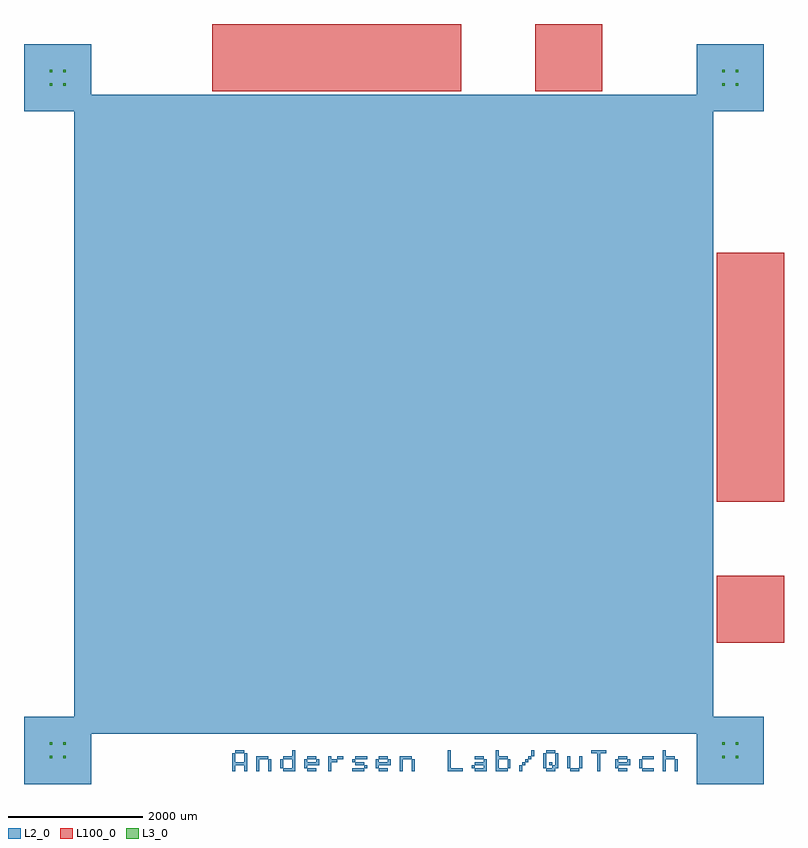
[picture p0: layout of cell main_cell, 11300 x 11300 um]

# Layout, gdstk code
import gdstk
lib = gdstk.Library(unit=1e-6, precision=1e-09)
def R(c, l, rs):  # rectangles x0, y0, x1, y1
    for r in rs: c.add(gdstk.rectangle(r[:2], r[2:], *l))
def P(c, l, *ps):  # polygons
    for p in ps: c.add(gdstk.Polygon(p, *l))
L2_0 = (2, 0)
L3_0 = (3, 0)
L100_0 = (100, 0)

main_cell = lib.new_cell('main_cell')
R(main_cell, L2_0, [(-5500,-5500,-4500,-4500), (4500,-5500,5500,-4500), (-444.444,-5266.667,-400,-5222.222), (1155.556,-5266.667,1200,-5222.222), (1911.111,-5222.222,1955.556,-5177.778), (2311.111,-5222.222,2355.556,-5177.778), (-622.222,-5177.778,-577.778,-5133.333), (1955.556,-5177.778,2000,-5133.333), (2000,-5133.333,2044.444,-5088.889), (-4750,-4750,4750,4750), (-5500,4500,-4500,5500), (4500,4500,5500,5500)])
P(main_cell, L2_0, [(-2400,-5311.111),(-2400,-5266.667),(-2400,-5222.222),(-2400,-5177.778),(-2400,-5133.333),(-2400,-5088.889),(-2400,-5044.444),(-2355.556,-5044.444),(-2355.556,-5088.889),(-2355.556,-5133.333),(-2355.556,-5177.778),(-2311.111,-5177.778),(-2266.667,-5177.778),(-2222.222,-5177.778),(-2222.222,-5133.333),(-2222.222,-5088.889),(-2222.222,-5044.444),(-2177.778,-5044.444),(-2177.778,-5088.889),(-2177.778,-5133.333),(-2177.778,-5177.778),(-2177.778,-5222.222),(-2177.778,-5266.667),(-2177.778,-5311.111),(-2222.222,-5311.111),(-2222.222,-5266.667),(-2222.222,-5222.222),(-2266.667,-5222.222),(-2311.111,-5222.222),(-2355.556,-5222.222),(-2355.556,-5266.667),(-2355.556,-5311.111)],
  [(-2355.556,-5044.444),(-2355.556,-5000),(-2311.111,-5000),(-2266.667,-5000),(-2222.222,-5000),(-2222.222,-5044.444),(-2266.667,-5044.444),(-2311.111,-5044.444)],
  [(-2044.444,-5311.111),(-2044.444,-5266.667),(-2044.444,-5222.222),(-2044.444,-5177.778),(-2044.444,-5133.333),(-2044.444,-5088.889),(-2000,-5088.889),(-1955.556,-5088.889),(-1911.111,-5088.889),(-1866.667,-5088.889),(-1866.667,-5133.333),(-1911.111,-5133.333),(-1955.556,-5133.333),(-2000,-5133.333),(-2000,-5177.778),(-2000,-5222.222),(-2000,-5266.667),(-2000,-5311.111)],
  [(-1866.667,-5311.111),(-1866.667,-5266.667),(-1866.667,-5222.222),(-1866.667,-5177.778),(-1866.667,-5133.333),(-1822.222,-5133.333),(-1822.222,-5177.778),(-1822.222,-5222.222),(-1822.222,-5266.667),(-1822.222,-5311.111)],
  [(-1688.889,-5266.667),(-1688.889,-5222.222),(-1688.889,-5177.778),(-1688.889,-5133.333),(-1644.444,-5133.333),(-1644.444,-5177.778),(-1644.444,-5222.222),(-1644.444,-5266.667)],
  [(-1644.444,-5311.111),(-1644.444,-5266.667),(-1600,-5266.667),(-1555.556,-5266.667),(-1511.111,-5266.667),(-1511.111,-5222.222),(-1511.111,-5177.778),(-1511.111,-5133.333),(-1555.556,-5133.333),(-1600,-5133.333),(-1644.444,-5133.333),(-1644.444,-5088.889),(-1600,-5088.889),(-1555.556,-5088.889),(-1511.111,-5088.889),(-1511.111,-5044.444),(-1511.111,-5000),(-1466.667,-5000),(-1466.667,-5044.444),(-1466.667,-5088.889),(-1466.667,-5133.333),(-1466.667,-5177.778),(-1466.667,-5222.222),(-1466.667,-5266.667),(-1466.667,-5311.111),(-1511.111,-5311.111),(-1555.556,-5311.111),(-1600,-5311.111)],
  [(-1333.333,-5266.667),(-1333.333,-5222.222),(-1333.333,-5177.778),(-1333.333,-5133.333),(-1288.889,-5133.333),(-1288.889,-5177.778),(-1244.444,-5177.778),(-1200,-5177.778),(-1155.556,-5177.778),(-1155.556,-5133.333),(-1111.111,-5133.333),(-1111.111,-5177.778),(-1111.111,-5222.222),(-1155.556,-5222.222),(-1200,-5222.222),(-1244.444,-5222.222),(-1288.889,-5222.222),(-1288.889,-5266.667)],
  [(-1288.889,-5311.111),(-1288.889,-5266.667),(-1244.444,-5266.667),(-1200,-5266.667),(-1155.556,-5266.667),(-1155.556,-5311.111),(-1200,-5311.111),(-1244.444,-5311.111)],
  [(-1288.889,-5133.333),(-1288.889,-5088.889),(-1244.444,-5088.889),(-1200,-5088.889),(-1155.556,-5088.889),(-1155.556,-5133.333),(-1200,-5133.333),(-1244.444,-5133.333)],
  [(-977.778,-5311.111),(-977.778,-5266.667),(-977.778,-5222.222),(-977.778,-5177.778),(-977.778,-5133.333),(-977.778,-5088.889),(-933.333,-5088.889),(-933.333,-5133.333),(-888.889,-5133.333),(-844.444,-5133.333),(-844.444,-5177.778),(-888.889,-5177.778),(-933.333,-5177.778),(-933.333,-5222.222),(-933.333,-5266.667),(-933.333,-5311.111)],
  [(-844.444,-5133.333),(-844.444,-5088.889),(-800,-5088.889),(-755.556,-5088.889),(-755.556,-5133.333),(-800,-5133.333)],
  [(-622.222,-5311.111),(-622.222,-5266.667),(-577.778,-5266.667),(-533.333,-5266.667),(-488.889,-5266.667),(-444.444,-5266.667),(-444.444,-5311.111),(-488.889,-5311.111),(-533.333,-5311.111),(-577.778,-5311.111)],
  [(-577.778,-5222.222),(-577.778,-5177.778),(-533.333,-5177.778),(-488.889,-5177.778),(-444.444,-5177.778),(-444.444,-5222.222),(-488.889,-5222.222),(-533.333,-5222.222)],
  [(-577.778,-5133.333),(-577.778,-5088.889),(-533.333,-5088.889),(-488.889,-5088.889),(-444.444,-5088.889),(-400,-5088.889),(-400,-5133.333),(-444.444,-5133.333),(-488.889,-5133.333),(-533.333,-5133.333)],
  [(-266.667,-5266.667),(-266.667,-5222.222),(-266.667,-5177.778),(-266.667,-5133.333),(-222.222,-5133.333),(-222.222,-5177.778),(-177.778,-5177.778),(-133.333,-5177.778),(-88.889,-5177.778),(-88.889,-5133.333),(-44.444,-5133.333),(-44.444,-5177.778),(-44.444,-5222.222),(-88.889,-5222.222),(-133.333,-5222.222),(-177.778,-5222.222),(-222.222,-5222.222),(-222.222,-5266.667)],
  [(-222.222,-5311.111),(-222.222,-5266.667),(-177.778,-5266.667),(-133.333,-5266.667),(-88.889,-5266.667),(-88.889,-5311.111),(-133.333,-5311.111),(-177.778,-5311.111)],
  [(-222.222,-5133.333),(-222.222,-5088.889),(-177.778,-5088.889),(-133.333,-5088.889),(-88.889,-5088.889),(-88.889,-5133.333),(-133.333,-5133.333),(-177.778,-5133.333)],
  [(88.889,-5311.111),(88.889,-5266.667),(88.889,-5222.222),(88.889,-5177.778),(88.889,-5133.333),(88.889,-5088.889),(133.333,-5088.889),(177.778,-5088.889),(222.222,-5088.889),(266.667,-5088.889),(266.667,-5133.333),(222.222,-5133.333),(177.778,-5133.333),(133.333,-5133.333),(133.333,-5177.778),(133.333,-5222.222),(133.333,-5266.667),(133.333,-5311.111)],
  [(266.667,-5311.111),(266.667,-5266.667),(266.667,-5222.222),(266.667,-5177.778),(266.667,-5133.333),(311.111,-5133.333),(311.111,-5177.778),(311.111,-5222.222),(311.111,-5266.667),(311.111,-5311.111)],
  [(800,-5311.111),(800,-5266.667),(800,-5222.222),(800,-5177.778),(800,-5133.333),(800,-5088.889),(800,-5044.444),(800,-5000),(844.444,-5000),(844.444,-5044.444),(844.444,-5088.889),(844.444,-5133.333),(844.444,-5177.778),(844.444,-5222.222),(844.444,-5266.667),(888.889,-5266.667),(933.333,-5266.667),(977.778,-5266.667),(1022.222,-5266.667),(1022.222,-5311.111),(977.778,-5311.111),(933.333,-5311.111),(888.889,-5311.111),(844.444,-5311.111)],
  [(1200,-5311.111),(1200,-5266.667),(1244.444,-5266.667),(1288.889,-5266.667),(1333.333,-5266.667),(1333.333,-5222.222),(1288.889,-5222.222),(1244.444,-5222.222),(1200,-5222.222),(1200,-5177.778),(1244.444,-5177.778),(1288.889,-5177.778),(1333.333,-5177.778),(1333.333,-5133.333),(1377.778,-5133.333),(1377.778,-5177.778),(1377.778,-5222.222),(1377.778,-5266.667),(1377.778,-5311.111),(1333.333,-5311.111),(1288.889,-5311.111),(1244.444,-5311.111)],
  [(1200,-5133.333),(1200,-5088.889),(1244.444,-5088.889),(1288.889,-5088.889),(1333.333,-5088.889),(1333.333,-5133.333),(1288.889,-5133.333),(1244.444,-5133.333)],
  [(1511.111,-5311.111),(1511.111,-5266.667),(1511.111,-5222.222),(1511.111,-5177.778),(1511.111,-5133.333),(1511.111,-5088.889),(1511.111,-5044.444),(1511.111,-5000),(1555.556,-5000),(1555.556,-5044.444),(1555.556,-5088.889),(1600,-5088.889),(1644.444,-5088.889),(1688.889,-5088.889),(1688.889,-5133.333),(1644.444,-5133.333),(1600,-5133.333),(1555.556,-5133.333),(1555.556,-5177.778),(1555.556,-5222.222),(1555.556,-5266.667),(1600,-5266.667),(1644.444,-5266.667),(1688.889,-5266.667),(1688.889,-5311.111),(1644.444,-5311.111),(1600,-5311.111),(1555.556,-5311.111)],
  [(1688.889,-5266.667),(1688.889,-5222.222),(1688.889,-5177.778),(1688.889,-5133.333),(1733.333,-5133.333),(1733.333,-5177.778),(1733.333,-5222.222),(1733.333,-5266.667)],
  [(1866.667,-5311.111),(1866.667,-5266.667),(1866.667,-5222.222),(1911.111,-5222.222),(1911.111,-5266.667),(1911.111,-5311.111)],
  [(2044.444,-5088.889),(2044.444,-5044.444),(2044.444,-5000),(2088.889,-5000),(2088.889,-5044.444),(2088.889,-5088.889)],
  [(2222.222,-5266.667),(2222.222,-5222.222),(2222.222,-5177.778),(2222.222,-5133.333),(2222.222,-5088.889),(2222.222,-5044.444),(2266.667,-5044.444),(2266.667,-5088.889),(2266.667,-5133.333),(2266.667,-5177.778),(2266.667,-5222.222),(2266.667,-5266.667)],
  [(2266.667,-5311.111),(2266.667,-5266.667),(2311.111,-5266.667),(2355.556,-5266.667),(2355.556,-5222.222),(2400,-5222.222),(2400,-5177.778),(2400,-5133.333),(2400,-5088.889),(2400,-5044.444),(2444.444,-5044.444),(2444.444,-5088.889),(2444.444,-5133.333),(2444.444,-5177.778),(2444.444,-5222.222),(2444.444,-5266.667),(2400,-5266.667),(2400,-5311.111),(2355.556,-5311.111),(2311.111,-5311.111)],
  [(2266.667,-5044.444),(2266.667,-5000),(2311.111,-5000),(2355.556,-5000),(2400,-5000),(2400,-5044.444),(2355.556,-5044.444),(2311.111,-5044.444)],
  [(2577.778,-5266.667),(2577.778,-5222.222),(2577.778,-5177.778),(2577.778,-5133.333),(2577.778,-5088.889),(2622.222,-5088.889),(2622.222,-5133.333),(2622.222,-5177.778),(2622.222,-5222.222),(2622.222,-5266.667)],
  [(2622.222,-5311.111),(2622.222,-5266.667),(2666.667,-5266.667),(2711.111,-5266.667),(2755.556,-5266.667),(2755.556,-5311.111),(2711.111,-5311.111),(2666.667,-5311.111)],
  [(2755.556,-5266.667),(2755.556,-5222.222),(2755.556,-5177.778),(2755.556,-5133.333),(2755.556,-5088.889),(2800,-5088.889),(2800,-5133.333),(2800,-5177.778),(2800,-5222.222),(2800,-5266.667)],
  [(3022.222,-5311.111),(3022.222,-5266.667),(3022.222,-5222.222),(3022.222,-5177.778),(3022.222,-5133.333),(3022.222,-5088.889),(3022.222,-5044.444),(2977.778,-5044.444),(2933.333,-5044.444),(2933.333,-5000),(2977.778,-5000),(3022.222,-5000),(3066.667,-5000),(3111.111,-5000),(3155.556,-5000),(3155.556,-5044.444),(3111.111,-5044.444),(3066.667,-5044.444),(3066.667,-5088.889),(3066.667,-5133.333),(3066.667,-5177.778),(3066.667,-5222.222),(3066.667,-5266.667),(3066.667,-5311.111)],
  [(3288.889,-5266.667),(3288.889,-5222.222),(3288.889,-5177.778),(3288.889,-5133.333),(3333.333,-5133.333),(3333.333,-5177.778),(3377.778,-5177.778),(3422.222,-5177.778),(3466.667,-5177.778),(3466.667,-5133.333),(3511.111,-5133.333),(3511.111,-5177.778),(3511.111,-5222.222),(3466.667,-5222.222),(3422.222,-5222.222),(3377.778,-5222.222),(3333.333,-5222.222),(3333.333,-5266.667)],
  [(3333.333,-5311.111),(3333.333,-5266.667),(3377.778,-5266.667),(3422.222,-5266.667),(3466.667,-5266.667),(3466.667,-5311.111),(3422.222,-5311.111),(3377.778,-5311.111)],
  [(3333.333,-5133.333),(3333.333,-5088.889),(3377.778,-5088.889),(3422.222,-5088.889),(3466.667,-5088.889),(3466.667,-5133.333),(3422.222,-5133.333),(3377.778,-5133.333)],
  [(3644.444,-5266.667),(3644.444,-5222.222),(3644.444,-5177.778),(3644.444,-5133.333),(3688.889,-5133.333),(3688.889,-5177.778),(3688.889,-5222.222),(3688.889,-5266.667)],
  [(3688.889,-5311.111),(3688.889,-5266.667),(3733.333,-5266.667),(3777.778,-5266.667),(3822.222,-5266.667),(3866.667,-5266.667),(3866.667,-5311.111),(3822.222,-5311.111),(3777.778,-5311.111),(3733.333,-5311.111)],
  [(3688.889,-5133.333),(3688.889,-5088.889),(3733.333,-5088.889),(3777.778,-5088.889),(3822.222,-5088.889),(3866.667,-5088.889),(3866.667,-5133.333),(3822.222,-5133.333),(3777.778,-5133.333),(3733.333,-5133.333)],
  [(4000,-5311.111),(4000,-5266.667),(4000,-5222.222),(4000,-5177.778),(4000,-5133.333),(4000,-5088.889),(4000,-5044.444),(4000,-5000),(4044.444,-5000),(4044.444,-5044.444),(4044.444,-5088.889),(4088.889,-5088.889),(4133.333,-5088.889),(4177.778,-5088.889),(4177.778,-5133.333),(4133.333,-5133.333),(4088.889,-5133.333),(4044.444,-5133.333),(4044.444,-5177.778),(4044.444,-5222.222),(4044.444,-5266.667),(4044.444,-5311.111)],
  [(4177.778,-5311.111),(4177.778,-5266.667),(4177.778,-5222.222),(4177.778,-5177.778),(4177.778,-5133.333),(4222.222,-5133.333),(4222.222,-5177.778),(4222.222,-5222.222),(4222.222,-5266.667),(4222.222,-5311.111)])
R(main_cell, L3_0, [(-5120,-5120,-5080,-5080), (-4920,-5120,-4880,-5080), (4880,-5120,4920,-5080), (5080,-5120,5120,-5080), (-5120,-4920,-5080,-4880), (-4920,-4920,-4880,-4880), (4880,-4920,4920,-4880), (5080,-4920,5120,-4880), (-5120,4880,-5080,4920), (-4920,4880,-4880,4920), (4880,4880,4920,4920), (5080,4880,5120,4920), (-5120,5080,-5080,5120), (-4920,5080,-4880,5120), (4880,5080,4920,5120), (5080,5080,5120,5120)])
R(main_cell, L100_0, [(4800,-3400,5800,-2400), (4800,-1300,5800,2400), (-2700,4800,1000,5800), (2100,4800,3100,5800)])

lib.write_gds('main_cell.gds')
